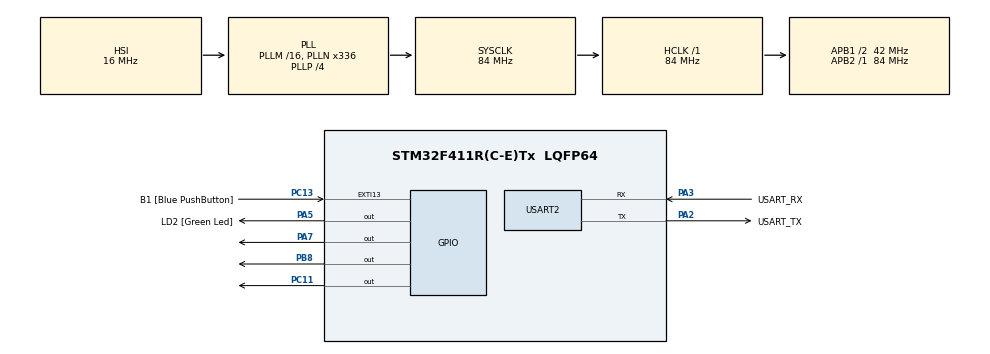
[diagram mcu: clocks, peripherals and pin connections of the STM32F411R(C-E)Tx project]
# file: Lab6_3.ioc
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FREERTOS.Mutexes01=UART_mutex_id,Dynamic,NULL
FREERTOS.Tasks01=defaultTask,0,128,StartDefaultTask,Default,NULL,Dynamic,NULL,NULL
FREERTOS.configUSE_TIMERS=1
Mcu.Family=STM32F4
Mcu.Name=STM32F411R(C-E)Tx
Mcu.Package=LQFP64
NVIC.PriorityGroup=NVIC_PRIORITYGROUP_4
PA13.GPIO_Label=TMS
PA13.Mode=Serial_Wire
PA13.Signal=SYS_JTMS-SWDIO
PA14.GPIO_Label=TCK
PA14.Mode=Serial_Wire
PA14.Signal=SYS_JTCK-SWCLK
PA2.GPIO_Label=USART_TX
PA2.Mode=Asynchronous
PA2.Signal=USART2_TX
PA3.GPIO_Label=USART_RX
PA3.Mode=Asynchronous
PA3.Signal=USART2_RX
PA5.GPIO_Label=LD2 [Green Led]
PA5.Signal=GPIO_Output
PA7.Signal=GPIO_Output
PB3.GPIO_Label=SWO
PB3.Signal=SYS_JTDO-SWO
PB8.Signal=GPIO_Output
PC11.Signal=GPIO_Output
PC13-ANTI_TAMP.GPIO_Label=B1 [Blue PushButton]
PC13-ANTI_TAMP.GPIO_ModeDefaultEXTI=GPIO_MODE_IT_FALLING
PC13-ANTI_TAMP.Signal=GPXTI13
PC14-OSC32_IN.Mode=LSE-External-Oscillator
PC14-OSC32_IN.Signal=RCC_OSC32_IN
PC15-OSC32_OUT.Mode=LSE-External-Oscillator
PC15-OSC32_OUT.Signal=RCC_OSC32_OUT
PH0\ -\ OSC_IN.Mode=HSE-External-Clock-Source
PH0\ -\ OSC_IN.Signal=RCC_OSC_IN
PH1\ -\ OSC_OUT.Mode=HSE-External-Clock-Source
PH1\ -\ OSC_OUT.Signal=RCC_OSC_OUT
ProjectManager.HeapSize=0x200
ProjectManager.StackSize=0x400
ProjectManager.TargetToolchain=STM32CubeIDE
RCC.48MHZClocksFreq_Value=84000000
RCC.AHBFreq_Value=84000000
RCC.APB1CLKDivider=RCC_HCLK_DIV2
RCC.APB1Freq_Value=42000000
RCC.APB1TimFreq_Value=84000000
RCC.APB2Freq_Value=84000000
RCC.APB2TimFreq_Value=84000000
RCC.CortexFreq_Value=84000000
RCC.FLatency-AdvancedSettings=FLASH_LATENCY_2
RCC.HCLKFreq_Value=84000000
RCC.HSE_VALUE=8000000
RCC.HSI_VALUE=16000000
RCC.PLLN=336
RCC.PLLP=RCC_PLLP_DIV4
RCC.SYSCLKFreq_VALUE=84000000
RCC.SYSCLKSource=RCC_SYSCLKSOURCE_PLLCLK
RCC.VCOOutputFreq_Value=336000000
USART2.VirtualMode=VM_ASYNC
VP_FREERTOS_VS_CMSIS_V1.Mode=CMSIS_V1
board=NUCLEO-F411RE

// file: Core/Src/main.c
/* USER CODE BEGIN Header */
/**
  ******************************************************************************
  * @file           : main.c
  * @brief          : Main program body
  ******************************************************************************
  * @attention
  *
  * Copyright (c) 2023 STMicroelectronics.
  * All rights reserved.
  *
  * This software is licensed under terms that can be found in the LICENSE file
  * in the root directory of this software component.
  * If no LICENSE file comes with this software, it is provided AS-IS.
  *
  ******************************************************************************
  */
/* USER CODE END Header */
#include "main.h"
#include "cmsis_os.h"

UART_HandleTypeDef huart2;

osThreadId defaultTaskHandle;
osMutexId UART_mutex_idHandle;

void SystemClock_Config(void);
static void MX_GPIO_Init(void);
static void MX_USART2_UART_Init(void);
void StartDefaultTask(void const * argument);

int main(void)
{

  /* MCU Configuration--------------------------------------------------------*/

  /* Reset of all peripherals, Initializes the Flash interface and the Systick. */
  HAL_Init();

  /* Configure the system clock */
  SystemClock_Config();

  /* Initialize all configured peripherals */
  MX_GPIO_Init();
  MX_USART2_UART_Init();

  /* Create the mutex(es) */
  /* definition and creation of UART_mutex_id */
  osMutexDef(UART_mutex_id);
  UART_mutex_idHandle = osMutexCreate(osMutex(UART_mutex_id));

  /* Create the thread(s) */
  /* definition and creation of defaultTask */
  osThreadDef(defaultTask, StartDefaultTask, osPriorityNormal, 0, 128);
  defaultTaskHandle = osThreadCreate(osThread(defaultTask), NULL);

  /* Start scheduler */
  osKernelStart();
  /* We should never get here as control is now taken by the scheduler */
  /* Infinite loop */
  while (1)
  {

  }
}

void SystemClock_Config(void)
{
  RCC_OscInitTypeDef RCC_OscInitStruct = {0};
  RCC_ClkInitTypeDef RCC_ClkInitStruct = {0};

  /** Configure the main internal regulator output voltage
  */
  __HAL_RCC_PWR_CLK_ENABLE();
  __HAL_PWR_VOLTAGESCALING_CONFIG(PWR_REGULATOR_VOLTAGE_SCALE1);

  /** Initializes the RCC Oscillators according to the specified parameters
  * in the RCC_OscInitTypeDef structure.
  */
  RCC_OscInitStruct.OscillatorType = RCC_OSCILLATORTYPE_HSI;
  RCC_OscInitStruct.HSIState = RCC_HSI_ON;
  RCC_OscInitStruct.HSICalibrationValue = RCC_HSICALIBRATION_DEFAULT;
  RCC_OscInitStruct.PLL.PLLState = RCC_PLL_ON;
  RCC_OscInitStruct.PLL.PLLSource = RCC_PLLSOURCE_HSI;
  RCC_OscInitStruct.PLL.PLLM = 16;
  RCC_OscInitStruct.PLL.PLLN = 336;
  RCC_OscInitStruct.PLL.PLLP = RCC_PLLP_DIV4;
  RCC_OscInitStruct.PLL.PLLQ = 4;
  if (HAL_RCC_OscConfig(&RCC_OscInitStruct) != HAL_OK)
  {
    Error_Handler();
  }

  /** Initializes the CPU, AHB and APB buses clocks
  */
  RCC_ClkInitStruct.ClockType = RCC_CLOCKTYPE_HCLK|RCC_CLOCKTYPE_SYSCLK
                              |RCC_CLOCKTYPE_PCLK1|RCC_CLOCKTYPE_PCLK2;
  RCC_ClkInitStruct.SYSCLKSource = RCC_SYSCLKSOURCE_PLLCLK;
  RCC_ClkInitStruct.AHBCLKDivider = RCC_SYSCLK_DIV1;
  RCC_ClkInitStruct.APB1CLKDivider = RCC_HCLK_DIV2;
  RCC_ClkInitStruct.APB2CLKDivider = RCC_HCLK_DIV1;

  if (HAL_RCC_ClockConfig(&RCC_ClkInitStruct, FLASH_LATENCY_2) != HAL_OK)
  {
    Error_Handler();
  }
}

static void MX_USART2_UART_Init(void)
{

  huart2.Instance = USART2;
  huart2.Init.BaudRate = 115200;
  huart2.Init.WordLength = UART_WORDLENGTH_8B;
  huart2.Init.StopBits = UART_STOPBITS_1;
  huart2.Init.Parity = UART_PARITY_NONE;
  huart2.Init.Mode = UART_MODE_TX_RX;
  huart2.Init.HwFlowCtl = UART_HWCONTROL_NONE;
  huart2.Init.OverSampling = UART_OVERSAMPLING_16;
  if (HAL_UART_Init(&huart2) != HAL_OK)
  {
    Error_Handler();
  }

}

static void MX_GPIO_Init(void)
{
  GPIO_InitTypeDef GPIO_InitStruct = {0};

  /* GPIO Ports Clock Enable */
  __HAL_RCC_GPIOC_CLK_ENABLE();
  __HAL_RCC_GPIOH_CLK_ENABLE();
  __HAL_RCC_GPIOA_CLK_ENABLE();
  __HAL_RCC_GPIOB_CLK_ENABLE();

  /*Configure GPIO pin Output Level */
  HAL_GPIO_WritePin(GPIOA, LD2_Pin|GPIO_PIN_7, GPIO_PIN_RESET);

  /*Configure GPIO pin Output Level */
  HAL_GPIO_WritePin(GPIOC, GPIO_PIN_11, GPIO_PIN_RESET);

  /*Configure GPIO pin Output Level */
  HAL_GPIO_WritePin(GPIOB, GPIO_PIN_8, GPIO_PIN_RESET);

  /*Configure GPIO pin : B1_Pin */
  GPIO_InitStruct.Pin = B1_Pin;
  GPIO_InitStruct.Mode = GPIO_MODE_IT_FALLING;
  GPIO_InitStruct.Pull = GPIO_NOPULL;
  HAL_GPIO_Init(B1_GPIO_Port, &GPIO_InitStruct);

  /*Configure GPIO pins : LD2_Pin PA7 */
  GPIO_InitStruct.Pin = LD2_Pin|GPIO_PIN_7;
  GPIO_InitStruct.Mode = GPIO_MODE_OUTPUT_PP;
  GPIO_InitStruct.Pull = GPIO_NOPULL;
  GPIO_InitStruct.Speed = GPIO_SPEED_FREQ_LOW;
  HAL_GPIO_Init(GPIOA, &GPIO_InitStruct);

  /*Configure GPIO pin : PC11 */
  GPIO_InitStruct.Pin = GPIO_PIN_11;
  GPIO_InitStruct.Mode = GPIO_MODE_OUTPUT_PP;
  GPIO_InitStruct.Pull = GPIO_NOPULL;
  GPIO_InitStruct.Speed = GPIO_SPEED_FREQ_LOW;
  HAL_GPIO_Init(GPIOC, &GPIO_InitStruct);

  /*Configure GPIO pin : PB8 */
  GPIO_InitStruct.Pin = GPIO_PIN_8;
  GPIO_InitStruct.Mode = GPIO_MODE_OUTPUT_PP;
  GPIO_InitStruct.Pull = GPIO_NOPULL;
  GPIO_InitStruct.Speed = GPIO_SPEED_FREQ_LOW;
  HAL_GPIO_Init(GPIOB, &GPIO_InitStruct);

}

/* USER CODE BEGIN 4 */
void led_thread_1(void const *args){
	while(1){
		HAL_GPIO_TogglePin(GPIOA, GPIO_PIN_5);
		osDelay(50);
	}
}
void led_thread_2(void const *args){
	while(1){
		HAL_GPIO_TogglePin(GPIOA, GPIO_PIN_7);
		osDelay(18);
	}
}
void led_thread_3(void const *args){
	while(1){
		HAL_GPIO_TogglePin(GPIOB, GPIO_PIN_8);
		osDelay(128);
	}
}
void led_thread_4(void const *args){
	while(1){
		HAL_GPIO_TogglePin(GPIOC, GPIO_PIN_11);
		osDelay(64);
	}
}
void UART_thread_1(void const *args){
	int threadID = 0;
	int idx = 0;
	char buffer[32];
	while(1) {
		osMutexWait(UART_mutex_idHandle, osWaitForever);
		sprintf(buffer, "TID: %d %d\r\n", threadID, idx);
		idx ++;
		HAL_UART_Transmit(&huart2, buffer, strlen(buffer), 1000);
		osMutexRelease(UART_mutex_idHandle);
		osDelay(10);
	}
}
void UART_thread_2(void const *args){
	int threadID = 1;
	int idx = 0;
	char buffer[32];
	while(1) {
		osMutexWait(UART_mutex_idHandle, osWaitForever);
		sprintf(buffer, "TID: %d %d\r\n", threadID, idx);
		idx ++;
		HAL_UART_Transmit(&huart2, buffer, strlen(buffer), 1000);
		osMutexRelease(UART_mutex_idHandle);
		osDelay(10);
	}
}
/* USER CODE END 4 */

void StartDefaultTask(void const * argument)
{
  /* USER CODE BEGIN 5 */
	osMutexDef(UART_mutex);
	osMutexId UART_mutex_id = osMutexCreate(osMutex(UART_mutex));
	osThreadDef(led_1, led_thread_1, osPriorityNormal, 0,128);
	osThreadId ledTaskHandle_1 = osThreadCreate(osThread(led_1), NULL);
	osThreadDef(led_2, led_thread_2, osPriorityNormal, 0,128);
	osThreadId ledTaskHandle_2 = osThreadCreate(osThread(led_2), NULL);
	osThreadDef(led_3, led_thread_3, osPriorityNormal, 0,128);
	osThreadId ledTaskHandle_3 = osThreadCreate(osThread(led_3), NULL);
	osThreadDef(led_4, led_thread_4, osPriorityNormal, 0,128);
	osThreadId ledTaskHandle_4 = osThreadCreate(osThread(led_4), NULL);
	osThreadDef(UART_1, UART_thread_1, osPriorityNormal, 0,128);
	osThreadId UARTTaskHandle_1 = osThreadCreate(osThread(UART_1), NULL);
	osThreadDef(UART_2, UART_thread_2, osPriorityNormal, 0,128);
	osThreadId UARTTaskHandle_2 = osThreadCreate(osThread(UART_2), NULL);
  /* Infinite loop */
  for(;;)
  {
    osDelay(1);
  }
  /* USER CODE END 5 */
}

void Error_Handler(void)
{
  __disable_irq();
  while (1)
  {
  }
}
